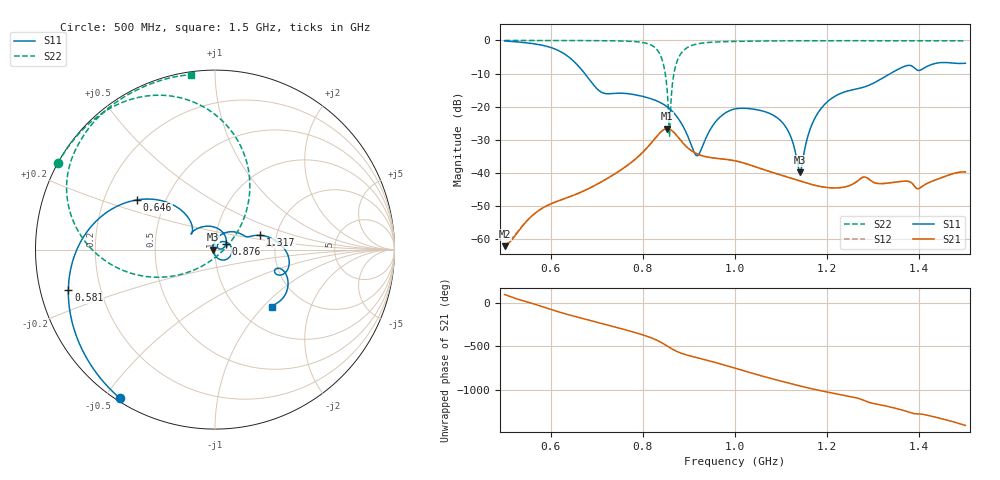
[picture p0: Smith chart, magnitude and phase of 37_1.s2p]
! TOUCHSTONE file generated by CST MICROWAVE STUDIO
! Date and time: Mon Oct 26 12:10:02 2020
! Project name: Scenario_1_Circular_Tissue_out_of_Line_v2.cst
! Parameters = {dy1=276.8; L_HA=400; MT=2.54; Rad_Dielectric=30; Rad_Lower=7.3; Rad_Upper=30; a_HA=580; a_WG=246; b_HA=500; b_WG=121; c_HA=0; c_WG=187; d_feed=85; dx1=173; h_feed=15; h_lower=18; h_upper=40}
! Header version: 2018
! Port assignment regex: !\s*Touchstone port\s*([0-9]+)\s*=\s*(CST MWS port|CST DS port)\s*([0-9]+|Zmin|Zmax)\s*\(\"(.*)\"\)(\s*mode\s*([0-9]+))?.*
! Touchstone port assignment:
! Touchstone port 1 = CST MWS port 1 ("")
! Touchstone port 2 = CST MWS port 2 ("")
# GHz S DB R 50
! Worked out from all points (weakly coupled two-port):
!   1003 points, 500 MHz to 1.5 GHz, reference 50 ohm
!   highest |S21| = -26.60 dB at 853 MHz (marker M1); lowest = -62.0 dB at 500 MHz (marker M2)
!   lowest |S11| = -39.7 dB at 1.141 GHz (marker M3), VSWR 1.02, Z = 49 - j0.0819 ohm
!   |S11| at or under -10 dB: 674.1 MHz to 1.337 GHz (662.7 MHz wide, 65.9 % of centre)
!   |S22| runs from -28.9 to 0.0 dB; largest |S21 - S12| = 0.00015
!   S11 on the Smith chart (normalised r, x): 500 MHz: 0.01, -0.55; 581 MHz: 0.08, -0.13; 646 MHz: 0.35, +0.26; 876 MHz: 1.13, +0.07; 1.317 GHz: 1.64, +0.28; 1.5 GHz: 1.40, -1.13
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0.5  -0.15 -122.5  -62.01 97.2  -62.01 97.2  -0.01 151.1
0.581  -1.44 -164.6  -50.64 -40.6  -50.65 -40.9  -0.02 145.5
0.646  -5.78 147.4  -46.87 -145.7  -46.87 -145.6  -0.03 140.3
0.667  -8.80 134.6  -45.66 -175.3  -45.66 -175.3  -0.04 138.4
0.711  -15.67 139.5  -42.55 123.9  -42.55 123.9  -0.08 133.5
0.779  -16.28 130.7  -36.32 25.7  -36.32 25.7  -0.32 120.6
0.834  -18.46 83.4  -28.32 -78.3  -28.32 -78.3  -3.40 83.0
0.846  -19.36 68.4  -26.87 -113.6  -26.87 -113.7  -8.03 60.7
0.853  -20.03 58.9  -26.60 -136.5  -26.60 -136.6  -15.43 39.6
0.86  -20.85 49.1  -26.89 -159.3  -26.89 -159.3  -21.20 -120.0
0.867  -21.83 39.2  -27.66 179.6  -27.66 179.6  -10.35 -150.1
0.876  -23.38 26.8  -29.08 156.4  -29.08 156.4  -5.67 -166.9
0.918  -34.73 34.6  -34.20 89.1  -34.20 89.1  -1.06 158.9
0.958  -24.49 48.0  -35.51 33.8  -35.52 33.8  -0.47 147.0
1  -20.64 6.1  -36.28 -31.6  -36.28 -31.6  -0.29 140.2
1.097  -23.94 -61.6  -40.47 -176.2  -40.46 -176.2  -0.14 130.0
1.141  -39.74 -175.3  -42.38 124.1  -42.38 124.1  -0.11 126.3
1.167  -25.33 85.5  -43.44 91.5  -43.44 91.6  -0.10 124.2
1.212  -17.25 46.5  -44.46 41.3  -44.45 41.3  -0.09 120.7
1.317  -11.61 17.6  -43.17 -95.1  -43.17 -95.1  -0.08 112.8
1.334  -10.22 12.9  -42.96 -114.8  -42.95 -114.8  -0.08 111.5
1.5  -6.88 -45.2  -39.64 29.0  -39.63 29.1  -0.14 97.9
